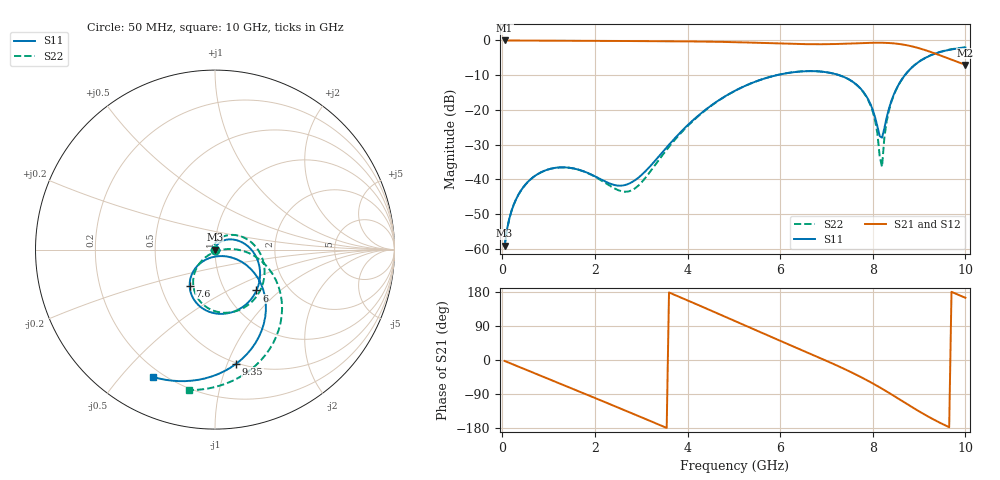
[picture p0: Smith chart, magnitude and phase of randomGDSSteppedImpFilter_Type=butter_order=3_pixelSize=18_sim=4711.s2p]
! freq	dB(S11)	phase(S11)	dB(S12)	phase(S12)
!  dB(S21)	phase(S21)	dB(S22)	phase(S22)
!S-par simulation data
#  GHz  S  DB  R 50
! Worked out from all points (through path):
!   200 points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, 50 MHz to 10 GHz, reference 50 ohm
!   highest |S21| = 0.00 dB at 50 MHz (marker M1); lowest = -7.0 dB at 10 GHz (marker M2)
!   group delay of S21, straight-line fit = 153 ps
!   lowest |S11| = -59.1 dB at 50 MHz (marker M3), VSWR 1.00, Z = 50 - j0.0999 ohm
!   |S11| at or under -10 dB: start of sweep to 5.925 GHz; 7.274 GHz to 8.694 GHz (1.42 GHz wide, 17.8 % of centre)
!   |S22| runs from -59.2 to -2.0 dB; largest |S21 - S12| = 0
!   S11 on the Smith chart (normalised r, x): 50 MHz: 1.00, -0.00; 6 GHz: 1.39, -0.71; 7.6 GHz: 0.70, -0.30; 9.35 GHz: 0.49, -1.08; 10 GHz: 0.16, -0.61
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0.05  -59.08 -63.9  -0.00 -2.5  -0.00 -2.5  -59.22 -63.2
0.15  -51.38 -86.8  -0.02 -7.6  -0.02 -7.6  -51.39 -87.0
0.25  -47.16 -97.1  -0.03 -12.6  -0.03 -12.6  -47.16 -97.4
0.6  -40.11 -119.9  -0.04 -30.0  -0.04 -30.0  -40.12 -120.8
1.15  -36.66 -150.3  -0.07 -57.5  -0.07 -57.5  -36.67 -151.7
1.75  -37.64 174.0  -0.10 -87.6  -0.10 -87.6  -37.68 174.1
2.7  -41.42 94.1  -0.16 -135.6  -0.16 -135.6  -43.52 123.4
3.4  -33.08 70.1  -0.22 -171.5  -0.22 -171.5  -34.06 102.4
4.15  -22.59 44.9  -0.30 149.4  -0.30 149.4  -22.77 64.5
5.05  -14.31 3.1  -0.50 101.4  -0.50 101.4  -14.33 16.4
5.5  -11.68 -19.4  -0.68 77.3  -0.68 77.3  -11.68 -7.7
6  -9.78 -44.6  -0.90 50.7  -0.90 50.7  -9.77 -34.2
6.7  -8.83 -79.7  -1.09 13.8  -1.09 13.8  -8.82 -70.6
7.6  -12.21 -125.2  -0.85 -36.2  -0.85 -36.2  -12.24 -119.1
8  -20.00 -136.7  -0.67 -61.8  -0.67 -61.8  -20.51 -140.1
8.2  -28.00 -68.1  -0.67 -75.7  -0.67 -75.7  -36.40 -31.6
8.25  -25.29 -41.5  -0.68 -79.3  -0.68 -79.3  -27.99 -1.0
8.35  -19.58 -25.2  -0.74 -86.7  -0.74 -86.7  -20.14 1.8
8.7  -9.89 -36.8  -1.29 -113.1  -1.29 -113.1  -9.89 -19.8
9  -6.12 -56.6  -2.24 -135.5  -2.24 -135.5  -6.08 -41.1
9.35  -3.78 -79.4  -3.79 -159.3  -3.79 -159.3  -3.73 -64.4
10  -2.05 -116.1  -7.02 164.3  -7.02 164.3  -1.98 -100.4
